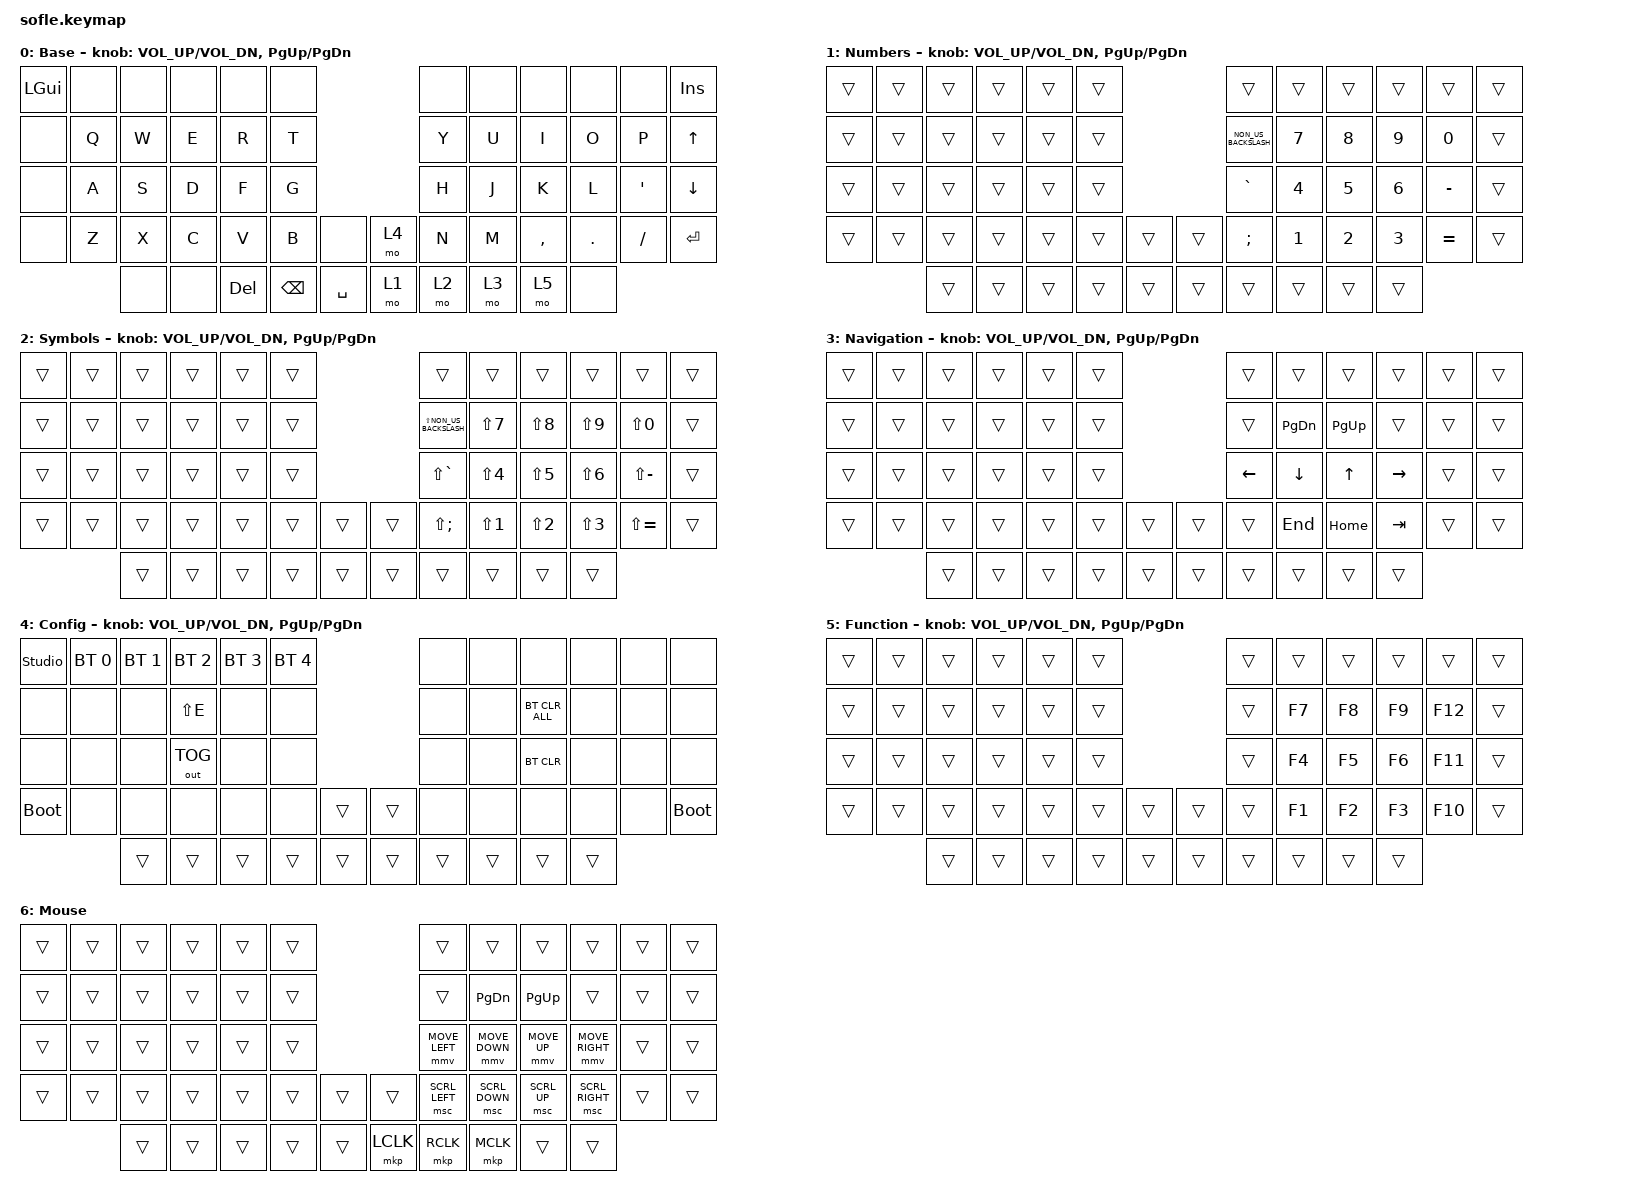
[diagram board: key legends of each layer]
/*
 * Copyright (c) 2020 The ZMK Contributors
 *
 * SPDX-License-Identifier: MIT
 */

#include <behaviors.dtsi>
#include <dt-bindings/zmk/bt.h>
#include <dt-bindings/zmk/keys.h>
#include <dt-bindings/zmk/outputs.h>
#include <dt-bindings/zmk/pointing.h>

// Enumera as camadas do teclado

#define BASE 0
#define NUMBERS 1
#define SYMBOLS 2
#define NAVIGATION 3
#define FUNCTION 4
#define CONFIG 5

// ABNT2 keycodes
// Mapeamento de teclas ABNT2 que são usados para o layout brasileiro
// Inspired by https://github.com/qmk/qmk_firmware/blob/master/quantum/keymap_extras/keymap_brazilian_abnt2.h

#define BR_SLSH INT1
#define BR_ACUT LBKT
#define BR_RBKT NUHS
#define BR_RBCT LS(NUHS)
#define BR_LBKT RBKT
#define BR_LBCT LS(RBKT)

// Abaixo, há especificações do comportamento do tap-hold para teclas com duplo comportamento
// Para mais detalhes: https://zmk.dev/docs/keymaps/behaviors/hold-tap

#define TAPPING_TERM 300 // Tempo em milissegundos para diferenciar o tap-hold

// Para teclas com tap-hold em que o hold é um modificador, como CTRL, ALT, etc

&mt {
    tapping-term-ms = <TAPPING_TERM>;
    quick-tap-ms = <TAPPING_TERM>;
    flavor = "balanced"; // Pode ser "balanced", "hold-preferred" ou "tap-preferred"
};

// Para teclas com tap-hold em que o hold é uma mudança de camada, como SYMB_NAV, MEDIA, etc

&lt {
    tapping-term-ms = <TAPPING_TERM>;
    quick-tap-ms = <TAPPING_TERM>;
    flavor = "balanced"; // Pode ser "balanced", "hold-preferred" ou "tap-preferred"
};

// Combos do teclado

/ {
    combos {
        compatible = "zmk,combos";

        combo_dongle_bootloader {
            // Faz o dongle entrar em modo de bootloader, para gravacao do firmware

            timeout-ms = <30>; // Tempo de tolerancia para apertar as teclas ao mesmo tempo
            key-positions = <50 51 58 59>; // 2 primeiras e 2 ultimas teclas da linha de teclas mais abaixo do teclado
            bindings = <&bootloader>; // Tecla a ser simulada ao apertar a combinação acima
        };

        combo_unlock_zmk_studio {
            // Desbloqueia o ZMK Studio

            timeout-ms = <30>; // Tempo de tolerancia para apertar as teclas ao mesmo tempo
            key-positions = <50 59>; // primeira e última teclas da linha de teclas mais abaixo do teclado
            bindings = <&studio_unlock>; // Tecla a ser simulada ao apertar a combinação acima
        };

        enter {
            bindings = <&kp ENTER>;
            key-positions = <16 15 14>;
        };

        esc {
            bindings = <&kp ESCAPE>;
            key-positions = <19 20 21>;
        };

        left_bracket {
            bindings = <&kp LEFT_BRACKET>;
            key-positions = <45 46>;
        };

        right_bracket {
            bindings = <&kp RIGHT_BRACKET>;
            key-positions = <46 47>;
        };

        left_shift {
            bindings = <&kp LEFT_SHIFT>;
            key-positions = <27 26>;
        };

        right_shift {
            bindings = <&kp LSHFT>;
            key-positions = <32 33>;
        };

        mouse {
            bindings = <&mo 6>;
            key-positions = <27 28>;
        };

        right_control {
            bindings = <&kp LEFT_CONTROL>;
            key-positions = <31 32>;
        };

        left_shift_control {
            bindings = <&kp LS(LEFT_CONTROL)>;
            key-positions = <38 40 39>;
        };

        right_shift_control {
            bindings = <&kp LS(LEFT_CONTROL)>;
            key-positions = <31 32 33>;
        };

        left_alt {
            bindings = <&kp RIGHT_ALT>;
            key-positions = <28 29>;
        };

        right_alt {
            bindings = <&kp RIGHT_ALT>;
            key-positions = <30 31>;
        };

        left_control {
            bindings = <&kp LEFT_CONTROL>;
            key-positions = <39 40>;
        };

        toggle_mouse {
            bindings = <&tog 6>;
            key-positions = <46 45 47>;
        };
    };
};

// Mapeamento de teclas e camadas do teclado

/ {
    keymap {
        compatible = "zmk,keymap";

        // Uma cópia genérica do template de camada, que pode ser usada para criar novas camadas
        //        name_layer {
        //            display-name = "name";
        //            bindings = <
        //&trans    &trans    &trans    &trans      &trans    &trans                        &trans    &trans   &trans    &trans    &trans   &trans
        //&trans    &none     &none     &none       &none     &none                         &none     &none    &none     &none     &none    &trans
        //&trans    &none     &none     &none       &none     &none                         &none     &none    &none     &none     &none    &trans
        //&trans    &none     &none     &none       &none     &none      &trans    &trans   &none     &none    &none     &none     &none    &trans
        //                    &trans    &trans      &trans    &trans     &trans    &trans   &trans    &trans   &trans    &trans
        //            >;
        //
        //            sensor-bindings = <&inc_dec_kp C_VOL_UP C_VOL_DN &inc_dec_kp PG_UP PG_DN>; // Para o knob (encoder)
        //        };

        base_layer {
            display-name = "Base";
            bindings = <
&kp LEFT_GUI  &none  &none  &none  &none    &none                              &none  &none  &none      &none    &none             &kp INSERT
&none         &kp Q  &kp W  &kp E  &kp R    &kp T                              &kp Y  &kp U  &kp I      &kp O    &kp P             &kp UP_ARROW
&none         &kp A  &kp S  &kp D  &kp F    &kp G                              &kp H  &kp J  &kp K      &kp L    &kp SINGLE_QUOTE  &kp DOWN
&none         &kp Z  &kp X  &kp C  &kp V    &kp B          &none        &mo 4  &kp N  &kp M  &kp COMMA  &kp DOT  &kp FSLH          &kp ENTER
                     &none  &none  &kp DEL  &kp BACKSPACE  &kp SPACE    &mo 1  &mo 2  &mo 3  &mo 5      &none
            >;

            sensor-bindings = <&inc_dec_kp C_VOL_UP C_VOL_DN &inc_dec_kp PG_UP PG_DN>;
        };

        numbers_layer {
            display-name = "Numbers";
            bindings = <
&trans  &trans  &trans  &trans  &trans  &trans                    &trans                &trans        &trans        &trans        &trans     &trans
&trans  &trans  &trans  &trans  &trans  &trans                    &kp NON_US_BACKSLASH  &kp N7        &kp N8        &kp N9        &kp N0     &trans
&trans  &trans  &trans  &trans  &trans  &trans                    &kp GRAVE             &kp NUMBER_4  &kp N5        &kp NUMBER_6  &kp MINUS  &trans
&trans  &trans  &trans  &trans  &trans  &trans  &trans    &trans  &kp SEMICOLON         &kp NUMBER_1  &kp NUMBER_2  &kp NUMBER_3  &kp EQUAL  &trans
                &trans  &trans  &trans  &trans  &trans    &trans  &trans                &trans        &trans        &trans
            >;

            sensor-bindings = <&inc_dec_kp C_VOL_UP C_VOL_DN &inc_dec_kp PG_UP PG_DN>;
        };

        symbols_layer {
            display-name = "Symbols";
            bindings = <
&trans  &trans  &trans  &trans  &trans  &trans                    &trans                    &trans            &trans            &trans            &trans         &trans
&trans  &trans  &trans  &trans  &trans  &trans                    &kp LS(NON_US_BACKSLASH)  &kp LS(N7)        &kp LS(N8)        &kp LS(N9)        &kp LS(N0)     &trans
&trans  &trans  &trans  &trans  &trans  &trans                    &kp LS(GRAVE)             &kp LS(NUMBER_4)  &kp LS(N5)        &kp LS(NUMBER_6)  &kp LS(MINUS)  &trans
&trans  &trans  &trans  &trans  &trans  &trans  &trans    &trans  &kp LS(SEMICOLON)         &kp LS(NUMBER_1)  &kp LS(NUMBER_2)  &kp LS(NUMBER_3)  &kp LS(EQUAL)  &trans
                &trans  &trans  &trans  &trans  &trans    &trans  &trans                    &trans            &trans            &trans
            >;

            sensor-bindings = <&inc_dec_kp C_VOL_UP C_VOL_DN &inc_dec_kp PG_UP PG_DN>;
        };

        navigation_layer {
            display-name = "Navigation";
            bindings = <
&trans  &trans  &trans  &trans  &trans  &trans                    &trans    &trans         &trans        &trans     &trans  &trans
&trans  &trans  &trans  &trans  &trans  &trans                    &trans    &kp PAGE_DOWN  &kp PAGE_UP   &trans     &trans  &trans
&trans  &trans  &trans  &trans  &trans  &trans                    &kp LEFT  &kp DOWN       &kp UP_ARROW  &kp RIGHT  &trans  &trans
&trans  &trans  &trans  &trans  &trans  &trans  &trans    &trans  &trans    &kp END        &kp HOME      &kp TAB    &trans  &trans
                &trans  &trans  &trans  &trans  &trans    &trans  &trans    &trans         &trans        &trans
            >;

            sensor-bindings = <&inc_dec_kp C_VOL_UP C_VOL_DN &inc_dec_kp PG_UP PG_DN>;
        };

        config_layer {
            display-name = "Config";
            bindings = <
&studio_unlock  &bt BT_SEL 0  &bt BT_SEL 1  &bt BT_SEL 2  &bt BT_SEL 3  &bt BT_SEL 4                    &none   &none   &none           &none   &none  &none
&none           &none         &none         &kp LS(E)     &none         &none                           &none   &none   &bt BT_CLR_ALL  &none   &none  &none
&none           &none         &none         &out OUT_TOG  &none         &none                           &none   &none   &bt BT_CLR      &none   &none  &none
&bootloader     &none         &none         &none         &none         &none         &trans    &trans  &none   &none   &none           &none   &none  &bootloader
                              &trans        &trans        &trans        &trans        &trans    &trans  &trans  &trans  &trans          &trans
            >;

            sensor-bindings = <&inc_dec_kp C_VOL_UP C_VOL_DN &inc_dec_kp PG_UP PG_DN>;
        };

        function_layer {
            display-name = "Function";
            bindings = <
&trans  &trans  &trans  &trans  &trans  &trans                    &trans  &trans  &trans  &trans  &trans   &trans
&trans  &trans  &trans  &trans  &trans  &trans                    &trans  &kp F7  &kp F8  &kp F9  &kp F12  &trans
&trans  &trans  &trans  &trans  &trans  &trans                    &trans  &kp F4  &kp F5  &kp F6  &kp F11  &trans
&trans  &trans  &trans  &trans  &trans  &trans  &trans    &trans  &trans  &kp F1  &kp F2  &kp F3  &kp F10  &trans
                &trans  &trans  &trans  &trans  &trans    &trans  &trans  &trans  &trans  &trans
            >;

            sensor-bindings = <&inc_dec_kp C_VOL_UP C_VOL_DN &inc_dec_kp PG_UP PG_DN>;
        };

        mouse_layer {
            bindings = <
&trans  &trans  &trans  &trans  &trans  &trans                       &trans          &trans          &trans        &trans           &trans  &trans
&trans  &trans  &trans  &trans  &trans  &trans                       &trans          &kp PAGE_DOWN   &kp PAGE_UP   &trans           &trans  &trans
&trans  &trans  &trans  &trans  &trans  &trans                       &mmv MOVE_LEFT  &mmv MOVE_DOWN  &mmv MOVE_UP  &mmv MOVE_RIGHT  &trans  &trans
&trans  &trans  &trans  &trans  &trans  &trans  &trans    &trans     &msc SCRL_LEFT  &msc SCRL_DOWN  &msc SCRL_UP  &msc SCRL_RIGHT  &trans  &trans
                &trans  &trans  &trans  &trans  &trans    &mkp LCLK  &mkp RCLK       &mkp MCLK       &trans        &trans
            >;

            label = "Mouse";
        };

        // Extra layers, so it can be added and customized in ZMK Studio
    };
};
